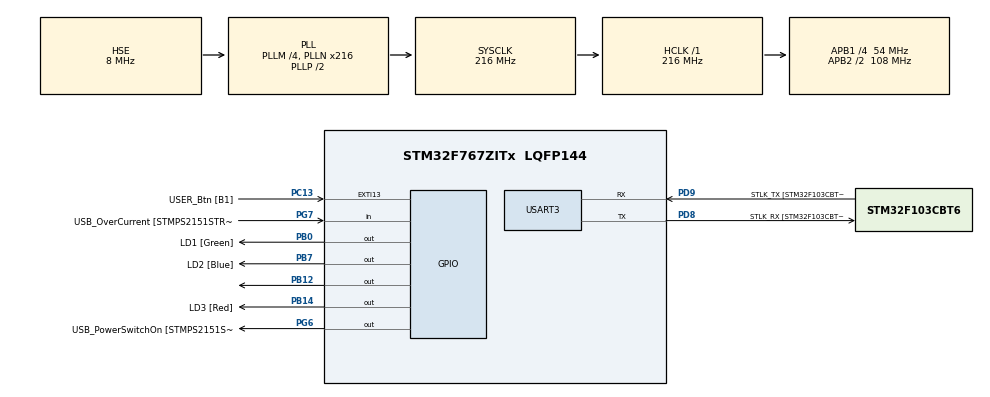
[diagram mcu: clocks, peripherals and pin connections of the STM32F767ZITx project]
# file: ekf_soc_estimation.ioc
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Mcu.Family=STM32F7
Mcu.Name=STM32F767ZITx
Mcu.Package=LQFP144
NVIC.PriorityGroup=NVIC_PRIORITYGROUP_4
PA1.GPIO_Label=RMII_REF_CLK [LAN8742A-CZ-TR_REFCLK0]
PA1.Signal=ETH_REF_CLK
PA10.GPIO_Label=USB_ID
PA10.Signal=USB_OTG_FS_ID
PA11.GPIO_Label=USB_DM
PA11.Signal=USB_OTG_FS_DM
PA12.GPIO_Label=USB_DP
PA12.Signal=USB_OTG_FS_DP
PA13.GPIO_Label=TMS
PA13.Mode=Serial_Wire
PA13.Signal=SYS_JTMS-SWDIO
PA14.GPIO_Label=TCK
PA14.Mode=Serial_Wire
PA14.Signal=SYS_JTCK-SWCLK
PA2.GPIO_Label=RMII_MDIO [LAN8742A-CZ-TR_MDIO]
PA2.Signal=ETH_MDIO
PA7.GPIO_Label=RMII_CRS_DV [LAN8742A-CZ-TR_CRS_DV]
PA7.Signal=ETH_CRS_DV
PA8.GPIO_Label=USB_SOF [TP1]
PA8.Signal=USB_OTG_FS_SOF
PA9.GPIO_Label=USB_VBUS
PA9.Signal=USB_OTG_FS_VBUS
PB0.GPIO_Label=LD1 [Green]
PB0.Signal=GPIO_Output
PB12.Signal=GPIO_Output
PB13.GPIO_Label=RMII_TXD1 [LAN8742A-CZ-TR_TXD1]
PB13.Signal=ETH_TXD1
PB14.GPIO_Label=LD3 [Red]
PB14.Signal=GPIO_Output
PB3.GPIO_Label=SWO
PB3.Signal=SYS_JTDO-SWO
PB7.GPIO_Label=LD2 [Blue]
PB7.Signal=GPIO_Output
PC1.GPIO_Label=RMII_MDC [LAN8742A-CZ-TR_MDC]
PC1.Signal=ETH_MDC
PC13.GPIO_Label=USER_Btn [B1]
PC13.Signal=GPXTI13
PC14/OSC32_IN.Mode=LSE-External-Oscillator
PC14/OSC32_IN.Signal=RCC_OSC32_IN
PC15/OSC32_OUT.Mode=LSE-External-Oscillator
PC15/OSC32_OUT.Signal=RCC_OSC32_OUT
PC4.GPIO_Label=RMII_RXD0 [LAN8742A-CZ-TR_RXD0]
PC4.Signal=ETH_RXD0
PC5.GPIO_Label=RMII_RXD1 [LAN8742A-CZ-TR_RXD1]
PC5.Signal=ETH_RXD1
PD8.GPIO_Label=STLK_RX [STM32F103CBT6_PA3]
PD8.Mode=Asynchronous
PD8.Signal=USART3_TX
PD9.GPIO_Label=STLK_TX [STM32F103CBT6_PA2]
PD9.Mode=Asynchronous
PD9.Signal=USART3_RX
PG11.GPIO_Label=RMII_TX_EN [LAN8742A-CZ-TR_TXEN]
PG11.Signal=ETH_TX_EN
PG13.GPIO_Label=RMII_TXD0 [LAN8742A-CZ-TR_TXD0]
PG13.Signal=ETH_TXD0
PG6.GPIO_Label=USB_PowerSwitchOn [STMPS2151STR_EN]
PG6.Signal=GPIO_Output
PG7.GPIO_Label=USB_OverCurrent [STMPS2151STR_FAULT]
PG7.Signal=GPIO_Input
PH0/OSC_IN.GPIO_Label=MCO [STM32F103CBT6_PA8]
PH0/OSC_IN.Mode=HSE-External-Clock-Source
PH0/OSC_IN.Signal=RCC_OSC_IN
PH1/OSC_OUT.Mode=HSE-External-Clock-Source
PH1/OSC_OUT.Signal=RCC_OSC_OUT
ProjectManager.HeapSize=0x200
ProjectManager.StackSize=0x400
ProjectManager.TargetToolchain=STM32CubeIDE
RCC.48MHZClocksFreq_Value=24000000
RCC.AHBFreq_Value=216000000
RCC.APB1CLKDivider=RCC_HCLK_DIV4
RCC.APB1Freq_Value=54000000
RCC.APB1TimFreq_Value=108000000
RCC.APB2CLKDivider=RCC_HCLK_DIV2
RCC.APB2Freq_Value=108000000
RCC.APB2TimFreq_Value=216000000
RCC.CortexFreq_Value=216000000
RCC.HCLKFreq_Value=216000000
RCC.HSE_VALUE=8000000
RCC.HSI_VALUE=16000000
RCC.PLLM=4
RCC.PLLMUL=RCC_PLL_MUL9
RCC.PLLN=216
RCC.PLLQ=4
RCC.PLLSourceVirtual=RCC_PLLSOURCE_HSE
RCC.PRESCALERUSB=RCC_USBCLKSOURCE_PLL_DIV1_5
RCC.SYSCLKFreq_VALUE=216000000
RCC.SYSCLKSource=RCC_SYSCLKSOURCE_PLLCLK
RCC.SYSCLKSourceVirtual=RCC_SYSCLKSOURCE_PLLCLK
RCC.USBFreq_Value=108000000
RCC.VCOOutputFreq_Value=432000000
USART3.VirtualMode-Asynchronous=VM_ASYNC
board=NUCLEO-F767ZI

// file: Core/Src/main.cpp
/* USER CODE BEGIN Header */
/**
  ******************************************************************************
  * @file           : main.c
  * @brief          : Main program body
  ******************************************************************************
  * @attention
  *
  * Copyright (c) 2023 STMicroelectronics.
  * All rights reserved.
  *
  * This software is licensed under terms that can be found in the LICENSE file
  * in the root directory of this software component.
  * If no LICENSE file comes with this software, it is provided AS-IS.
  *
  ******************************************************************************
  */
/* USER CODE END Header */
#include "main.h"

/* USER CODE BEGIN Includes */

#define RINT_EKF
// #define ORDER1_EKF
// #define ORDER2_EKF

#ifdef RINT_EKF
#include "rint_soc_estimation.hpp"
#endif
#ifdef ORDER1_EKF
#include "order1_soc_estimation.hpp"
#endif
#ifdef ORDER2_EKF
#include "order2_soc_estimation.hpp"
#endif
/* USER CODE END Includes */

UART_HandleTypeDef huart3;

void SystemClock_Config(void);
static void MX_GPIO_Init(void);
static void MX_USART3_UART_Init(void);

int main(void)
{
  /* USER CODE BEGIN 1 */
#ifdef RINT_EKF
const_param param = {
    .Qcell  = 2.6,
    .R0     = 56.0249e-3,
    .var_R0 = 2.0484e-4,
    .var_I  = 0.2,
    .var_V  = 0.01,
    .dt     = 2
};
rint_soc_estimation soc_est((const_param*) &param);
#endif

#ifdef ORDER1_EKF
const_param param = {
    .Qcell  = 2.6,
    .R0     = 0.0483931761428571,
    .R1     = 0.009194263714286,
    .C1     = 1792.376480857143,
    .var_R0 = 1.748400363167382e-04,
    .var_R1 = 6.447974101115573e-06,
    .var_C1 = 1.654769549368888e+05,
    .var_I  = 0.5,
    .var_V  = 0.01,
    .dt     = 2
};
order1_soc_estimation soc_est((const_param*) &param);
#endif
#ifdef ORDER2_EKF
const_param param = {
    .Qcell  = 2.6,
    .R0     = 0.048526179428571,
    .R1     = 0.007890919857143,
    .R2     = 0.001230702714286,
    .C1     = 2.063299935571429e+03,
    .C2     = 2.796414200514285e+04,
    .var_R0 = 1.738974919658423e-04,
    .var_R1 = 4.732279148481142e-06,
    .var_R2 = 1.168184614385714e-07,
    .var_C1 = 3.711867375752439e+05,
    .var_C2 = 9.061279452550288e+08,
    .var_I  = 0.4,
    .var_V  = 0.05,
    .dt     = 2
};
order2_soc_estimation soc_est((const_param*) &param);
#endif

	double soc;
  /* USER CODE END 1 */

  /* MCU Configuration--------------------------------------------------------*/

  /* Reset of all peripherals, Initializes the Flash interface and the Systick. */
  HAL_Init();

  /* USER CODE BEGIN Init */
  CoreDebug->DEMCR |= CoreDebug_DEMCR_TRCENA_Msk;
  DWT->CYCCNT = 0;
  DWT->CTRL |= DWT_CTRL_CYCCNTENA_Msk;
  /* USER CODE END Init */

  /* Configure the system clock */
  SystemClock_Config();

  /* Initialize all configured peripherals */
  MX_GPIO_Init();
  MX_USART3_UART_Init();

  /* Infinite loop */
  /* USER CODE BEGIN WHILE */
  while (1)
  {
	  HAL_GPIO_WritePin(GPIOB, GPIO_PIN_12, GPIO_PIN_SET);

	  unsigned long t1 = DWT->CYCCNT;

	  soc = soc_est.soc_ekf_compute(3.20, 1.00);

	  unsigned long t2 = DWT->CYCCNT;
	  unsigned long diff = t2 - t1;
	  float time_used_ms = (1/216e3)*diff;

	  HAL_GPIO_WritePin(GPIOB, GPIO_PIN_12, GPIO_PIN_RESET);

	  HAL_Delay(1 + soc + time_used_ms);
    /* USER CODE END WHILE */

  }
}

void SystemClock_Config(void)
{
  RCC_OscInitTypeDef RCC_OscInitStruct = {0};
  RCC_ClkInitTypeDef RCC_ClkInitStruct = {0};

  /** Configure LSE Drive Capability
  */
  HAL_PWR_EnableBkUpAccess();

  /** Configure the main internal regulator output voltage
  */
  __HAL_RCC_PWR_CLK_ENABLE();
  __HAL_PWR_VOLTAGESCALING_CONFIG(PWR_REGULATOR_VOLTAGE_SCALE1);

  /** Initializes the RCC Oscillators according to the specified parameters
  * in the RCC_OscInitTypeDef structure.
  */
  RCC_OscInitStruct.OscillatorType = RCC_OSCILLATORTYPE_HSE;
  RCC_OscInitStruct.HSEState = RCC_HSE_BYPASS;
  RCC_OscInitStruct.PLL.PLLState = RCC_PLL_ON;
  RCC_OscInitStruct.PLL.PLLSource = RCC_PLLSOURCE_HSE;
  RCC_OscInitStruct.PLL.PLLM = 4;
  RCC_OscInitStruct.PLL.PLLN = 216;
  RCC_OscInitStruct.PLL.PLLP = RCC_PLLP_DIV2;
  RCC_OscInitStruct.PLL.PLLQ = 4;
  RCC_OscInitStruct.PLL.PLLR = 2;
  if (HAL_RCC_OscConfig(&RCC_OscInitStruct) != HAL_OK)
  {
    Error_Handler();
  }

  /** Activate the Over-Drive mode
  */
  if (HAL_PWREx_EnableOverDrive() != HAL_OK)
  {
    Error_Handler();
  }

  /** Initializes the CPU, AHB and APB buses clocks
  */
  RCC_ClkInitStruct.ClockType = RCC_CLOCKTYPE_HCLK|RCC_CLOCKTYPE_SYSCLK
                              |RCC_CLOCKTYPE_PCLK1|RCC_CLOCKTYPE_PCLK2;
  RCC_ClkInitStruct.SYSCLKSource = RCC_SYSCLKSOURCE_PLLCLK;
  RCC_ClkInitStruct.AHBCLKDivider = RCC_SYSCLK_DIV1;
  RCC_ClkInitStruct.APB1CLKDivider = RCC_HCLK_DIV4;
  RCC_ClkInitStruct.APB2CLKDivider = RCC_HCLK_DIV2;

  if (HAL_RCC_ClockConfig(&RCC_ClkInitStruct, FLASH_LATENCY_7) != HAL_OK)
  {
    Error_Handler();
  }
}

static void MX_USART3_UART_Init(void)
{

  huart3.Instance = USART3;
  huart3.Init.BaudRate = 115200;
  huart3.Init.WordLength = UART_WORDLENGTH_8B;
  huart3.Init.StopBits = UART_STOPBITS_1;
  huart3.Init.Parity = UART_PARITY_NONE;
  huart3.Init.Mode = UART_MODE_TX_RX;
  huart3.Init.HwFlowCtl = UART_HWCONTROL_NONE;
  huart3.Init.OverSampling = UART_OVERSAMPLING_16;
  huart3.Init.OneBitSampling = UART_ONE_BIT_SAMPLE_DISABLE;
  huart3.AdvancedInit.AdvFeatureInit = UART_ADVFEATURE_NO_INIT;
  if (HAL_UART_Init(&huart3) != HAL_OK)
  {
    Error_Handler();
  }

}

static void MX_GPIO_Init(void)
{
  GPIO_InitTypeDef GPIO_InitStruct = {0};

  /* GPIO Ports Clock Enable */
  __HAL_RCC_GPIOC_CLK_ENABLE();
  __HAL_RCC_GPIOH_CLK_ENABLE();
  __HAL_RCC_GPIOA_CLK_ENABLE();
  __HAL_RCC_GPIOB_CLK_ENABLE();
  __HAL_RCC_GPIOD_CLK_ENABLE();
  __HAL_RCC_GPIOG_CLK_ENABLE();

  /*Configure GPIO pin Output Level */
  HAL_GPIO_WritePin(GPIOB, LD1_Pin|GPIO_PIN_12|LD3_Pin|LD2_Pin, GPIO_PIN_RESET);

  /*Configure GPIO pin Output Level */
  HAL_GPIO_WritePin(USB_PowerSwitchOn_GPIO_Port, USB_PowerSwitchOn_Pin, GPIO_PIN_RESET);

  /*Configure GPIO pin : USER_Btn_Pin */
  GPIO_InitStruct.Pin = USER_Btn_Pin;
  GPIO_InitStruct.Mode = GPIO_MODE_IT_RISING;
  GPIO_InitStruct.Pull = GPIO_NOPULL;
  HAL_GPIO_Init(USER_Btn_GPIO_Port, &GPIO_InitStruct);

  /*Configure GPIO pins : RMII_MDC_Pin RMII_RXD0_Pin RMII_RXD1_Pin */
  GPIO_InitStruct.Pin = RMII_MDC_Pin|RMII_RXD0_Pin|RMII_RXD1_Pin;
  GPIO_InitStruct.Mode = GPIO_MODE_AF_PP;
  GPIO_InitStruct.Pull = GPIO_NOPULL;
  GPIO_InitStruct.Speed = GPIO_SPEED_FREQ_VERY_HIGH;
  GPIO_InitStruct.Alternate = GPIO_AF11_ETH;
  HAL_GPIO_Init(GPIOC, &GPIO_InitStruct);

  /*Configure GPIO pins : RMII_REF_CLK_Pin RMII_MDIO_Pin RMII_CRS_DV_Pin */
  GPIO_InitStruct.Pin = RMII_REF_CLK_Pin|RMII_MDIO_Pin|RMII_CRS_DV_Pin;
  GPIO_InitStruct.Mode = GPIO_MODE_AF_PP;
  GPIO_InitStruct.Pull = GPIO_NOPULL;
  GPIO_InitStruct.Speed = GPIO_SPEED_FREQ_VERY_HIGH;
  GPIO_InitStruct.Alternate = GPIO_AF11_ETH;
  HAL_GPIO_Init(GPIOA, &GPIO_InitStruct);

  /*Configure GPIO pins : LD1_Pin PB12 LD3_Pin LD2_Pin */
  GPIO_InitStruct.Pin = LD1_Pin|GPIO_PIN_12|LD3_Pin|LD2_Pin;
  GPIO_InitStruct.Mode = GPIO_MODE_OUTPUT_PP;
  GPIO_InitStruct.Pull = GPIO_NOPULL;
  GPIO_InitStruct.Speed = GPIO_SPEED_FREQ_LOW;
  HAL_GPIO_Init(GPIOB, &GPIO_InitStruct);

  /*Configure GPIO pin : RMII_TXD1_Pin */
  GPIO_InitStruct.Pin = RMII_TXD1_Pin;
  GPIO_InitStruct.Mode = GPIO_MODE_AF_PP;
  GPIO_InitStruct.Pull = GPIO_NOPULL;
  GPIO_InitStruct.Speed = GPIO_SPEED_FREQ_VERY_HIGH;
  GPIO_InitStruct.Alternate = GPIO_AF11_ETH;
  HAL_GPIO_Init(RMII_TXD1_GPIO_Port, &GPIO_InitStruct);

  /*Configure GPIO pin : USB_PowerSwitchOn_Pin */
  GPIO_InitStruct.Pin = USB_PowerSwitchOn_Pin;
  GPIO_InitStruct.Mode = GPIO_MODE_OUTPUT_PP;
  GPIO_InitStruct.Pull = GPIO_NOPULL;
  GPIO_InitStruct.Speed = GPIO_SPEED_FREQ_LOW;
  HAL_GPIO_Init(USB_PowerSwitchOn_GPIO_Port, &GPIO_InitStruct);

  /*Configure GPIO pin : USB_OverCurrent_Pin */
  GPIO_InitStruct.Pin = USB_OverCurrent_Pin;
  GPIO_InitStruct.Mode = GPIO_MODE_INPUT;
  GPIO_InitStruct.Pull = GPIO_NOPULL;
  HAL_GPIO_Init(USB_OverCurrent_GPIO_Port, &GPIO_InitStruct);

  /*Configure GPIO pins : USB_SOF_Pin USB_ID_Pin USB_DM_Pin USB_DP_Pin */
  GPIO_InitStruct.Pin = USB_SOF_Pin|USB_ID_Pin|USB_DM_Pin|USB_DP_Pin;
  GPIO_InitStruct.Mode = GPIO_MODE_AF_PP;
  GPIO_InitStruct.Pull = GPIO_NOPULL;
  GPIO_InitStruct.Speed = GPIO_SPEED_FREQ_VERY_HIGH;
  GPIO_InitStruct.Alternate = GPIO_AF10_OTG_FS;
  HAL_GPIO_Init(GPIOA, &GPIO_InitStruct);

  /*Configure GPIO pin : USB_VBUS_Pin */
  GPIO_InitStruct.Pin = USB_VBUS_Pin;
  GPIO_InitStruct.Mode = GPIO_MODE_INPUT;
  GPIO_InitStruct.Pull = GPIO_NOPULL;
  HAL_GPIO_Init(USB_VBUS_GPIO_Port, &GPIO_InitStruct);

  /*Configure GPIO pins : RMII_TX_EN_Pin RMII_TXD0_Pin */
  GPIO_InitStruct.Pin = RMII_TX_EN_Pin|RMII_TXD0_Pin;
  GPIO_InitStruct.Mode = GPIO_MODE_AF_PP;
  GPIO_InitStruct.Pull = GPIO_NOPULL;
  GPIO_InitStruct.Speed = GPIO_SPEED_FREQ_VERY_HIGH;
  GPIO_InitStruct.Alternate = GPIO_AF11_ETH;
  HAL_GPIO_Init(GPIOG, &GPIO_InitStruct);

}

void Error_Handler(void)
{
  __disable_irq();
  while (1)
  {
  }
}
